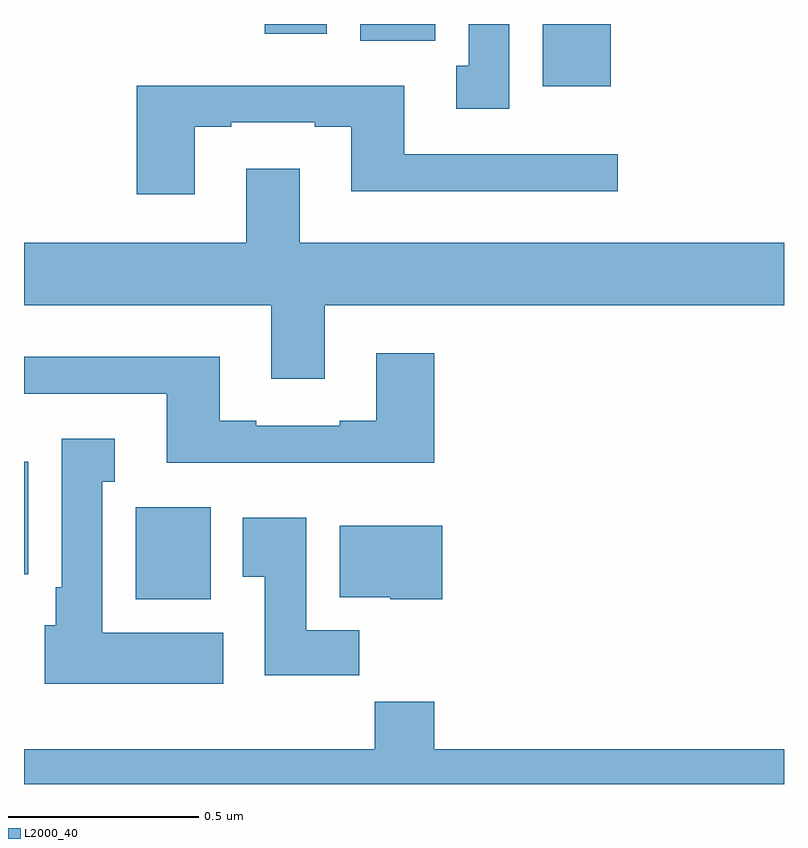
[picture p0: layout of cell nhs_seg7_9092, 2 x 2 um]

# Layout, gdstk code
import gdstk
lib = gdstk.Library(unit=1e-6, precision=1e-09)
def R(c, l, rs):  # rectangles x0, y0, x1, y1
    for r in rs: c.add(gdstk.rectangle(r[:2], r[2:], *l))
def P(c, l, *ps):  # polygons
    for p in ps: c.add(gdstk.Polygon(p, *l))
L2000_40 = (2000, 40)

nhs_seg7_9092 = lib.new_cell('nhs_seg7_9092')
R(nhs_seg7_9092, L2000_40, [(233.294,1022.486,233.491,1022.728), (233,1022.552,233.011,1022.848), (234.365,1023.836,234.544,1024), (233.885,1023.956,234.082,1024), (233.633,1023.974,233.797,1024)])
P(nhs_seg7_9092, L2000_40, [(234.277,1024),(234.17,1024),(234.17,1023.89),(234.137,1023.89),(234.137,1023.777),(234.277,1023.777)],
  [(233.449,1023.729),(233.545,1023.729),(233.545,1023.741),(233.765,1023.741),(233.765,1023.729),(233.861,1023.729),(233.861,1023.56),(234.562,1023.56),(234.562,1023.657),(234.001,1023.657),(234.001,1023.838),(233.297,1023.838),(233.297,1023.552),(233.449,1023.552)],
  [(233.791,1023.26),(235,1023.26),(235,1023.424),(233.725,1023.424),(233.725,1023.619),(233.585,1023.619),(233.585,1023.424),(233,1023.424),(233,1023.26),(233.651,1023.26),(233.651,1023.066),(233.791,1023.066)],
  [(234.08,1023.133),(233.927,1023.133),(233.927,1022.956),(233.831,1022.956),(233.831,1022.943),(233.611,1022.943),(233.611,1022.956),(233.515,1022.956),(233.515,1023.124),(233,1023.124),(233,1023.027),(233.375,1023.027),(233.375,1022.846),(234.08,1022.846)],
  [(233.524,1022.398),(233.206,1022.398),(233.206,1022.795),(233.239,1022.795),(233.239,1022.908),(233.099,1022.908),(233.099,1022.518),(233.084,1022.518),(233.084,1022.418),(233.054,1022.418),(233.054,1022.264),(233.524,1022.264)],
  [(233.882,1022.404),(233.743,1022.404),(233.743,1022.701),(233.576,1022.701),(233.576,1022.545),(233.633,1022.545),(233.633,1022.286),(233.882,1022.286)],
  [(234.1,1022.68),(233.831,1022.68),(233.831,1022.492),(233.964,1022.492),(233.964,1022.486),(234.1,1022.486)],
  [(235,1022.092),(234.08,1022.092),(234.08,1022.216),(233.923,1022.216),(233.923,1022.092),(233,1022.092),(233,1022),(235,1022)])

lib.write_gds('nhs_seg7_9092.gds')
